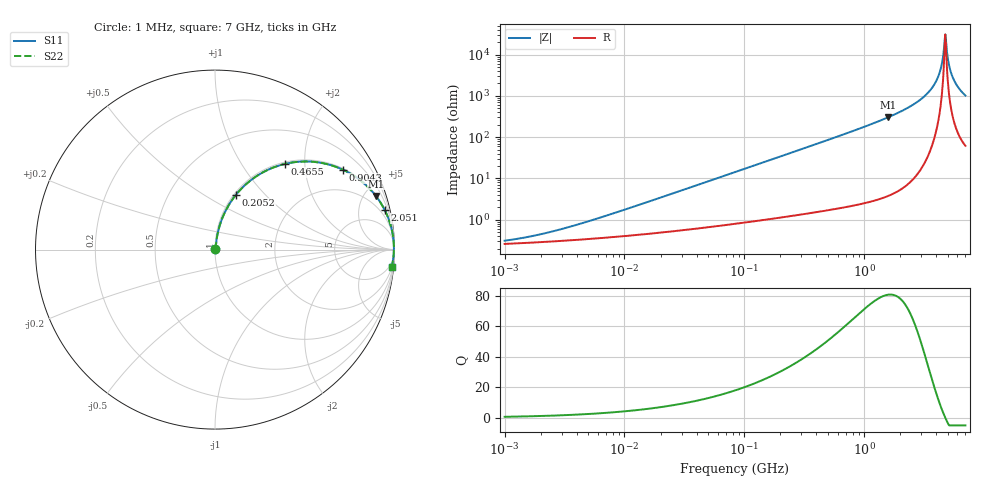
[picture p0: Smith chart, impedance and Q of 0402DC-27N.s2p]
# MHz  S  MA  R  50
!Freq  MagS11  AngS11  MagS21  AngS21  MagS12  AngS12  MagS22  AngS22
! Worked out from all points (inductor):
!   801 points, 1 MHz to 7 GHz, reference 50 ohm
!   read as one part in series: L = 27 nH near 6.35 MHz
!   highest Q = 80.6 at 1.573 GHz (marker M1), where L = 30.3 nH
!   self-resonance near 4.757 GHz
!   S11 on the Smith chart (normalised r, x): 1 MHz: 1.01, +0.00; 205.2 MHz: 1.02, +0.70; 465.5 MHz: 1.03, +1.59; 904.3 MHz: 1.05, +3.18; 2.051 GHz: 1.11, +8.55; 7 GHz: 2, -20
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1  0.003083 33.2  0.9974 -0.1  0.9974 -0.1  0.003083 33.2
4.406943  0.008147 65.7  0.9967 -0.4  0.9967 -0.4  0.008147 65.7
19.20737  0.03276 79.8  0.9947 -1.9  0.9947 -1.9  0.03276 79.8
83.71406  0.1398 78.8  0.9824 -8.0  0.9824 -8.0  0.1398 78.8
205.1942  0.3262 69.1  0.9348 -19.0  0.9348 -19.0  0.3262 69.1
368.9231  0.5274 56.8  0.8374 -31.8  0.8374 -31.8  0.5274 56.8
465.4604  0.6173 50.7  0.7741 -38.1  0.7741 -38.1  0.6173 50.7
904.2792  0.8412 31.9  0.5285 -57.3  0.5285 -57.3  0.8412 31.9
1572.723  0.945 18.4  0.3155 -70.9  0.3155 -70.9  0.945 18.4
1607.927  0.9477 17.9  0.3077 -71.4  0.3077 -71.4  0.9477 17.9
2051.258  0.9709 13.1  0.2272 -76.1  0.2272 -76.1  0.9709 13.1
2955.637  0.9902 7.0  0.1213 -81.9  0.1213 -81.9  0.9902 7.0
3729.048  0.9956 3.5  0.0608 -84.1  0.0608 -84.1  0.9956 3.5
4258.748  0.9968 1.6  0.02764 -82.5  0.02764 -82.5  0.9968 1.6
4402.537  0.9969 1.1  0.01949 -80.2  0.01949 -80.2  0.9969 1.1
4601.834  0.9969 0.5  0.00888 -69.0  0.00888 -69.0  0.9969 0.5
4757.206  0.9968 0.0  0.003236 -2.1  0.003236 -2.1  0.9968 0.0
4917.823  0.9966 -0.5  0.008749 66.9  0.008749 66.9  0.9966 -0.5
5197.66  0.9961 -1.2  0.02204 79.3  0.02204 79.3  0.9961 -1.2
5554.563  0.9953 -2.2  0.03842 81.8  0.03842 81.8  0.9953 -2.2
6204.687  0.993 -3.8  0.06611 82.1  0.06611 82.1  0.993 -3.8
7000  0.9894 -5.6  0.09699 81.0  0.09699 81.0  0.9894 -5.6
